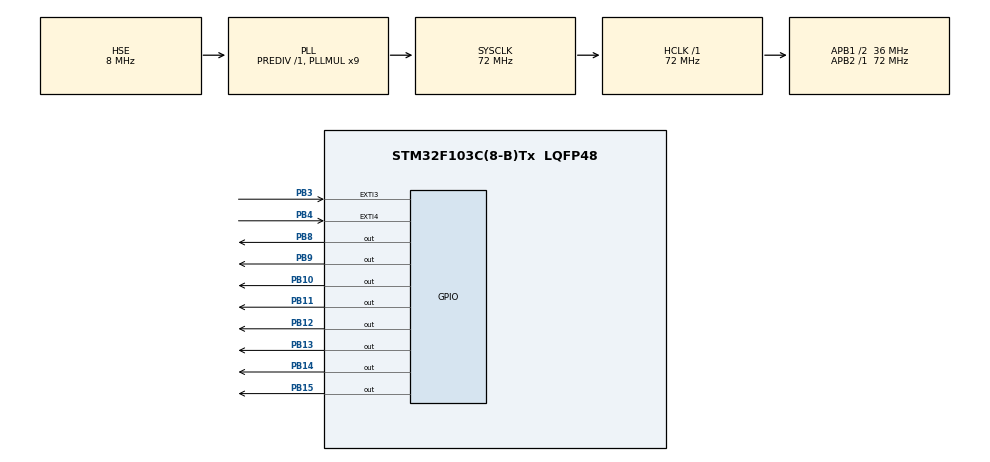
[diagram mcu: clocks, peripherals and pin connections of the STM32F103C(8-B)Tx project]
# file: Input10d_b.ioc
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Mcu.Family=STM32F1
Mcu.Name=STM32F103C(8-B)Tx
Mcu.Package=LQFP48
NVIC.EXTI3_IRQn=true\:1\:0\:true\:false\:true\:true\:true\:true
NVIC.EXTI4_IRQn=true\:2\:0\:true\:false\:true\:true\:true\:true
NVIC.PriorityGroup=NVIC_PRIORITYGROUP_4
PA13.Mode=Serial_Wire
PA13.Signal=SYS_JTMS-SWDIO
PA14.Mode=Serial_Wire
PA14.Signal=SYS_JTCK-SWCLK
PB10.Signal=GPIO_Output
PB11.Signal=GPIO_Output
PB12.Signal=GPIO_Output
PB13.Signal=GPIO_Output
PB14.Signal=GPIO_Output
PB15.Signal=GPIO_Output
PB3.GPIO_ModeDefaultEXTI=GPIO_MODE_IT_RISING_FALLING
PB3.GPIO_PuPd=GPIO_PULLUP
PB3.Signal=GPXTI3
PB4.GPIO_ModeDefaultEXTI=GPIO_MODE_IT_RISING_FALLING
PB4.GPIO_PuPd=GPIO_PULLUP
PB4.Signal=GPXTI4
PB8.Signal=GPIO_Output
PB9.Signal=GPIO_Output
PD0-OSC_IN.Mode=HSE-External-Oscillator
PD0-OSC_IN.Signal=RCC_OSC_IN
PD1-OSC_OUT.Mode=HSE-External-Oscillator
PD1-OSC_OUT.Signal=RCC_OSC_OUT
ProjectManager.HeapSize=0x200
ProjectManager.StackSize=0x400
ProjectManager.TargetToolchain=MDK-ARM V5.32
RCC.AHBFreq_Value=72000000
RCC.APB1CLKDivider=RCC_HCLK_DIV2
RCC.APB1Freq_Value=36000000
RCC.APB1TimFreq_Value=72000000
RCC.APB2Freq_Value=72000000
RCC.APB2TimFreq_Value=72000000
RCC.HCLKFreq_Value=72000000
RCC.PLLMUL=RCC_PLL_MUL9
RCC.PLLSourceVirtual=RCC_PLLSOURCE_HSE
RCC.SYSCLKFreq_VALUE=72000000
RCC.SYSCLKSource=RCC_SYSCLKSOURCE_PLLCLK
RCC.USBFreq_Value=72000000
board=custom

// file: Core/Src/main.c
/* USER CODE BEGIN Header */
/**
  ******************************************************************************
  * @file           : main.c
  * @brief          : Main program body
  ******************************************************************************
  * @attention
  *
  * Copyright (c) 2022 STMicroelectronics.
  * All rights reserved.
  *
  * This software is licensed under terms that can be found in the LICENSE file
  * in the root directory of this software component.
  * If no LICENSE file comes with this software, it is provided AS-IS.
  *
  ******************************************************************************
  */
/* USER CODE END Header */
#include "main.h"

/* USER CODE BEGIN PV */
uint8_t bin[8];
int isPress1 = 0;
int isPress2 = 0;
uint32_t timePress1 = 0;
uint32_t start;
uint32_t countPress1 = 0;
uint32_t countPress2 = 0;
uint8_t i = 0;
/* USER CODE END PV */

void SystemClock_Config(void);
static void MX_GPIO_Init(void);

/* USER CODE BEGIN 0 */

/* USER CODE END PV */

/* USER CODE END PFP */

/* Private user code ---------------------------------------------------------*/
/* USER CODE BEGIN 0 */
void chuyen_he(int dec)
{
	for(int i = 0; i < 8; i++)
	{
		bin[i] = dec%2;
		dec/=2;
	}
}

void increase_1(void)
{
	isPress1 = 0;
	isPress2 = 0;
	for(int i = 0; i < 255; i++)
	{
		if(isPress2 >= 1||isPress1 >= 1)
		{
			break;
		}
		chuyen_he(i);
		HAL_GPIO_WritePin(GPIOB, GPIO_PIN_8, bin[0]);
		HAL_GPIO_WritePin(GPIOB, GPIO_PIN_9, bin[1]);
		HAL_GPIO_WritePin(GPIOB, GPIO_PIN_10, bin[2]);
		HAL_GPIO_WritePin(GPIOB, GPIO_PIN_11, bin[3]);
		HAL_GPIO_WritePin(GPIOB, GPIO_PIN_12, bin[4]);
		HAL_GPIO_WritePin(GPIOB, GPIO_PIN_13, bin[5]);
		HAL_GPIO_WritePin(GPIOB, GPIO_PIN_14, bin[6]);
		HAL_GPIO_WritePin(GPIOB, GPIO_PIN_15, bin[7]);
		HAL_Delay(1000);
	}
}

void reduce_1(void)
{
	isPress1 = 0;
	isPress2 = 0;
	for(int i = 255; i >=0; i--)
	{
		if(isPress2 >= 1||isPress1 >= 1)
		{
			break;
		}
		chuyen_he(i);
		HAL_GPIO_WritePin(GPIOB, GPIO_PIN_8, bin[0]);
		HAL_GPIO_WritePin(GPIOB, GPIO_PIN_9, bin[1]);
		HAL_GPIO_WritePin(GPIOB, GPIO_PIN_10, bin[2]);
		HAL_GPIO_WritePin(GPIOB, GPIO_PIN_11, bin[3]);
		HAL_GPIO_WritePin(GPIOB, GPIO_PIN_12, bin[4]);
		HAL_GPIO_WritePin(GPIOB, GPIO_PIN_13, bin[5]);
		HAL_GPIO_WritePin(GPIOB, GPIO_PIN_14, bin[6]);
		HAL_GPIO_WritePin(GPIOB, GPIO_PIN_15, bin[7]);
		HAL_Delay(1000);
	}
}

void led_off(void)
{
		isPress1 = 0;
		isPress2 = 0;
		while(1)
		{
			if(isPress2 >= 1||isPress1 >= 1)
			{
				break;
			}
			HAL_GPIO_WritePin(GPIOB, GPIO_PIN_8, 0);
			HAL_GPIO_WritePin(GPIOB, GPIO_PIN_9, 0);
			HAL_GPIO_WritePin(GPIOB, GPIO_PIN_10, 0);
			HAL_GPIO_WritePin(GPIOB, GPIO_PIN_11, 0);
			HAL_GPIO_WritePin(GPIOB, GPIO_PIN_12, 0);
			HAL_GPIO_WritePin(GPIOB, GPIO_PIN_13, 0);
			HAL_GPIO_WritePin(GPIOB, GPIO_PIN_14, 0);
			HAL_GPIO_WritePin(GPIOB, GPIO_PIN_15, 0);
		}
}

void Toggle(void)
{
		isPress1 = 0;
		isPress2 = 0;
		while(1)
		{
			if(isPress2 >= 1||isPress1 >= 1)
			{
				break;
			}
			HAL_GPIO_TogglePin(GPIOB, GPIO_PIN_8);
			HAL_GPIO_TogglePin(GPIOB, GPIO_PIN_9);
			HAL_GPIO_TogglePin(GPIOB, GPIO_PIN_10);
			HAL_GPIO_TogglePin(GPIOB, GPIO_PIN_11);
			HAL_GPIO_TogglePin(GPIOB, GPIO_PIN_12);
			HAL_GPIO_TogglePin(GPIOB, GPIO_PIN_13);
			HAL_GPIO_TogglePin(GPIOB, GPIO_PIN_14);
			HAL_GPIO_TogglePin(GPIOB, GPIO_PIN_15);
		}
}

/* USER CODE END 0 */

int main(void)
{

  /* MCU Configuration--------------------------------------------------------*/

  /* Reset of all peripherals, Initializes the Flash interface and the Systick. */
  HAL_Init();

  /* Configure the system clock */
  SystemClock_Config();

  /* Initialize all configured peripherals */
  MX_GPIO_Init();

  /* Infinite loop */
  while (1)
  {

    /* USER CODE BEGIN 3 */
		if(isPress1 == 1)
		{
			HAL_Delay(1);
			countPress1+=1;
			while(1)
			{
				if(isPress1 >= 2)
				{
					for(int i = 0; i < 5; i++)
					{
						HAL_Delay(50);
						timePress1+=0.05;
						if(isPress1 >= 3)
						{
							break;
						}
					}
					break;
				}
			}
		}
		if(countPress1 == 1 && timePress1 > 0.2)
		{
			increase_1();
		}

  }
  /* USER CODE END 3 */
}

void SystemClock_Config(void)
{
  RCC_OscInitTypeDef RCC_OscInitStruct = {0};
  RCC_ClkInitTypeDef RCC_ClkInitStruct = {0};

  /** Initializes the RCC Oscillators according to the specified parameters
  * in the RCC_OscInitTypeDef structure.
  */
  RCC_OscInitStruct.OscillatorType = RCC_OSCILLATORTYPE_HSE;
  RCC_OscInitStruct.HSEState = RCC_HSE_ON;
  RCC_OscInitStruct.HSEPredivValue = RCC_HSE_PREDIV_DIV1;
  RCC_OscInitStruct.HSIState = RCC_HSI_ON;
  RCC_OscInitStruct.PLL.PLLState = RCC_PLL_ON;
  RCC_OscInitStruct.PLL.PLLSource = RCC_PLLSOURCE_HSE;
  RCC_OscInitStruct.PLL.PLLMUL = RCC_PLL_MUL9;
  if (HAL_RCC_OscConfig(&RCC_OscInitStruct) != HAL_OK)
  {
    Error_Handler();
  }

  /** Initializes the CPU, AHB and APB buses clocks
  */
  RCC_ClkInitStruct.ClockType = RCC_CLOCKTYPE_HCLK|RCC_CLOCKTYPE_SYSCLK
                              |RCC_CLOCKTYPE_PCLK1|RCC_CLOCKTYPE_PCLK2;
  RCC_ClkInitStruct.SYSCLKSource = RCC_SYSCLKSOURCE_PLLCLK;
  RCC_ClkInitStruct.AHBCLKDivider = RCC_SYSCLK_DIV1;
  RCC_ClkInitStruct.APB1CLKDivider = RCC_HCLK_DIV2;
  RCC_ClkInitStruct.APB2CLKDivider = RCC_HCLK_DIV1;

  if (HAL_RCC_ClockConfig(&RCC_ClkInitStruct, FLASH_LATENCY_2) != HAL_OK)
  {
    Error_Handler();
  }
}

static void MX_GPIO_Init(void)
{
  GPIO_InitTypeDef GPIO_InitStruct = {0};

  /* GPIO Ports Clock Enable */
  __HAL_RCC_GPIOD_CLK_ENABLE();
  __HAL_RCC_GPIOB_CLK_ENABLE();
  __HAL_RCC_GPIOA_CLK_ENABLE();

  /*Configure GPIO pin Output Level */
  HAL_GPIO_WritePin(GPIOB, GPIO_PIN_10|GPIO_PIN_11|GPIO_PIN_12|GPIO_PIN_13
                          |GPIO_PIN_14|GPIO_PIN_15|GPIO_PIN_8|GPIO_PIN_9, GPIO_PIN_RESET);

  /*Configure GPIO pins : PB10 PB11 PB12 PB13
                           PB14 PB15 PB8 PB9 */
  GPIO_InitStruct.Pin = GPIO_PIN_10|GPIO_PIN_11|GPIO_PIN_12|GPIO_PIN_13
                          |GPIO_PIN_14|GPIO_PIN_15|GPIO_PIN_8|GPIO_PIN_9;
  GPIO_InitStruct.Mode = GPIO_MODE_OUTPUT_PP;
  GPIO_InitStruct.Pull = GPIO_NOPULL;
  GPIO_InitStruct.Speed = GPIO_SPEED_FREQ_LOW;
  HAL_GPIO_Init(GPIOB, &GPIO_InitStruct);

  /*Configure GPIO pins : PB3 PB4 */
  GPIO_InitStruct.Pin = GPIO_PIN_3|GPIO_PIN_4;
  GPIO_InitStruct.Mode = GPIO_MODE_IT_RISING_FALLING;
  GPIO_InitStruct.Pull = GPIO_PULLUP;
  HAL_GPIO_Init(GPIOB, &GPIO_InitStruct);

  /* EXTI interrupt init*/
  HAL_NVIC_SetPriority(EXTI3_IRQn, 1, 0);
  HAL_NVIC_EnableIRQ(EXTI3_IRQn);

  HAL_NVIC_SetPriority(EXTI4_IRQn, 2, 0);
  HAL_NVIC_EnableIRQ(EXTI4_IRQn);

}

void Error_Handler(void)
{
  __disable_irq();
  while (1)
  {
  }
}
